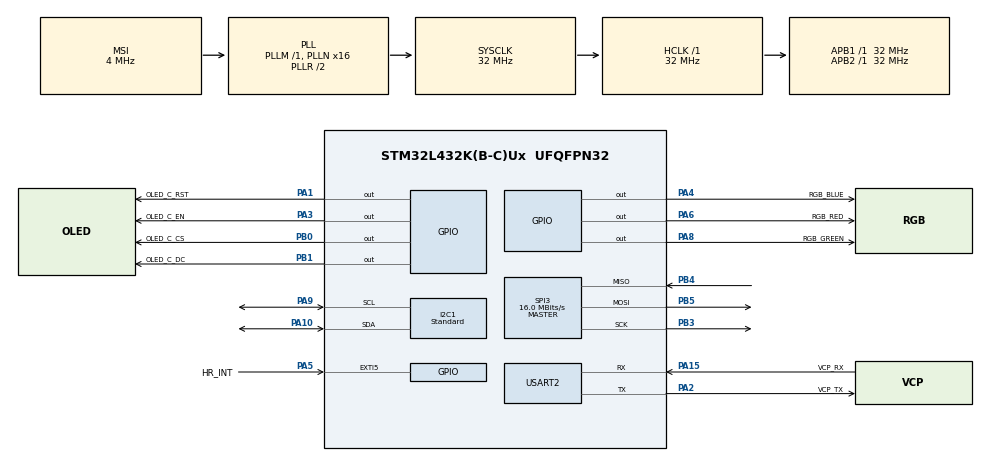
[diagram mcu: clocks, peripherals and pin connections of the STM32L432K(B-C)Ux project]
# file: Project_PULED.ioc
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I2C1.DualAddressMode=I2C_DUALADDRESS_DISABLE
I2C1.I2C_Speed_Mode=I2C_Standard
I2C1.Timing=0x00707CBB
Mcu.Family=STM32L4
Mcu.Name=STM32L432K(B-C)Ux
Mcu.Package=UFQFPN32
NVIC.EXTI9_5_IRQn=true\:0\:0\:false\:false\:true\:true\:true
NVIC.I2C1_EV_IRQn=true\:0\:0\:false\:false\:true\:true\:true
NVIC.PriorityGroup=NVIC_PRIORITYGROUP_4
NVIC.SPI3_IRQn=true\:0\:0\:false\:false\:true\:true\:true
NVIC.TIM1_UP_TIM16_IRQn=true\:0\:0\:false\:false\:true\:true\:true
PA0.GPIO_Label=MCO [High speed clock in]
PA0.Mode=HSE-External-Clock-Source-for-LittleOrca
PA0.Signal=RCC_CK_IN
PA1.GPIO_Label=OLED_C_RST
PA1.Signal=GPIO_Output
PA10.GPIO_Pu=GPIO_PULLUP
PA10.GPIO_Speed=GPIO_SPEED_FREQ_MEDIUM
PA10.Mode=I2C
PA10.Signal=I2C1_SDA
PA13\ (JTMS-SWDIO).GPIO_Label=SWDIO
PA13\ (JTMS-SWDIO).Mode=Serial_Wire
PA13\ (JTMS-SWDIO).Signal=SYS_JTMS-SWDIO
PA14\ (JTCK-SWCLK).GPIO_Label=SWCLK
PA14\ (JTCK-SWCLK).Mode=Serial_Wire
PA14\ (JTCK-SWCLK).Signal=SYS_JTCK-SWCLK
PA15\ (JTDI).GPIO_Label=VCP_RX
PA15\ (JTDI).Mode=Asynchronous
PA15\ (JTDI).Signal=USART2_RX
PA2.GPIO_Label=VCP_TX
PA2.Mode=Asynchronous
PA2.Signal=USART2_TX
PA3.GPIO_Label=OLED_C_EN
PA3.Signal=GPIO_Output
PA4.GPIO_Label=RGB_BLUE
PA4.Signal=GPIO_Output
PA5.GPIO_Label=HR_INT
PA5.GPIO_ModeDefaultEXTI=GPIO_MODE_IT_FALLING
PA5.Signal=GPXTI5
PA6.GPIO_Label=RGB_RED
PA6.Signal=GPIO_Output
PA8.GPIO_Label=RGB_GREEN
PA8.Signal=GPIO_Output
PA9.GPIO_Pu=GPIO_PULLUP
PA9.GPIO_Speed=GPIO_SPEED_FREQ_MEDIUM
PA9.Mode=I2C
PA9.Signal=I2C1_SCL
PB0.GPIO_Label=OLED_C_CS
PB0.Signal=GPIO_Output
PB1.GPIO_Label=OLED_C_DC
PB1.Signal=GPIO_Output
PB3\ (JTDO-TRACESWO).Mode=Full_Duplex_Master
PB3\ (JTDO-TRACESWO).Signal=SPI3_SCK
PB4\ (NJTRST).Mode=Full_Duplex_Master
PB4\ (NJTRST).Signal=SPI3_MISO
PB5.Mode=Full_Duplex_Master
PB5.Signal=SPI3_MOSI
PC14-OSC32_IN\ (PC14).Mode=LSE-External-Oscillator
PC14-OSC32_IN\ (PC14).Signal=RCC_OSC32_IN
PC15-OSC32_OUT\ (PC15).Mode=LSE-External-Oscillator
PC15-OSC32_OUT\ (PC15).Signal=RCC_OSC32_OUT
ProjectManager.HeapSize=0x200
ProjectManager.StackSize=0x400
ProjectManager.TargetToolchain=Makefile
RCC.ADCFreq_Value=32000000
RCC.AHBFreq_Value=32000000
RCC.APB1Freq_Value=32000000
RCC.APB1TimFreq_Value=32000000
RCC.APB2Freq_Value=32000000
RCC.APB2TimFreq_Value=32000000
RCC.CortexFreq_Value=32000000
RCC.HCLKFreq_Value=32000000
RCC.HSE_VALUE=8000000
RCC.HSI16_VALUE=16000000
RCC.HSI48_VALUE=48000000
RCC.HSI_VALUE=16000000
RCC.I2C1CLockSelection=RCC_I2C1CLKSOURCE_SYSCLK
RCC.MSI_VALUE=4000000
RCC.PLLMUL=RCC_PLLMUL_4
RCC.PLLN=16
RCC.PLLSAI1N=16
RCC.SYSCLKFreq_VALUE=32000000
RCC.SYSCLKSource=RCC_SYSCLKSOURCE_PLLCLK
RCC.USBFreq_Value=32000000
RCC.VCOOutputFreq_Value=64000000
SPI3.CalculateBaudRate=16.0 MBits/s
SPI3.DataSize=SPI_DATASIZE_8BIT
SPI3.Direction=SPI_DIRECTION_2LINES
SPI3.Mode=SPI_MODE_MASTER
SPI3.VirtualType=VM_MASTER
TIM16.AutoReloadPreload=TIM_AUTORELOAD_PRELOAD_ENABLE
TIM16.Period=40000-1
TIM16.Prescaler=2-1
USART2.VirtualMode-Asynchronous=VM_ASYNC
VP_TIM16_VS_ClockSourceINT.Mode=Enable_Timer
board=NUCLEO-L432KC

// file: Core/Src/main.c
/* USER CODE BEGIN Header */
/**
  ******************************************************************************
  * @file           : main.c
  * @brief          : Main program body
  ******************************************************************************
  * @attention
  *
  * <h2><center>&copy; Copyright (c) 2021 STMicroelectronics.
  * All rights reserved.</center></h2>
  *
  * This software component is licensed by ST under BSD 3-Clause license,
  * the "License"; You may not use this file except in compliance with the
  * License. You may obtain a copy of the License at:
  *                        opensource.org/licenses/BSD-3-Clause
  *
  ******************************************************************************
  */
/* USER CODE END Header */
#include "main.h"

/* USER CODE BEGIN Includes */

// NOTE Custom Library Imports
#include "protocol.h"
// NOTE Heartrate Module Imports
#include "max30100.h"
// NOTE Display Module Imports
#include "oledc.h"
#include "font.h"

// NOTE Standard Library Imports
#include <string.h>
#include <stdlib.h>
#include <stdbool.h>
#include <stdio.h>
/* USER CODE END Includes */

/* USER CODE BEGIN PD */
#define MSG_BUFFER 255
#define DEBOUNCE 50
#define MINIMUM_VIABLE_MEASUREMENT 10000
/* USER CODE END PD */

/* USER CODE BEGIN PM */

/* NOTE Activate protocol example or UART test sections during initialization */
// #define PROTOCOL_EXAMPLE
// #define UART_TEST

/* NOTE Configure trigger of interrupt from heartrate module
 * These macro's are dependant on the HR_ONLY_MODE and SPO2_MODE flags set in max30100.h !!!
 * TRIGGER_ON_FIFO - Trigger reacts to FIFO full and reads all samples (and prints result in main)
 * TRIGGER_ON_SAMPLE - Trigger reacts on HR_RDY or SPO2_RDY and reads 1 sample (and prints immediatly)
 * TRIGGER_ON_TEMP - Trigger reacts on TEMP_RDY and reads temperature (and prints immediatly)
 */
#define TRIGGER_ON_FIFO
// #define TRIGGER_ON_SAMPLE
/* FIXME Since temperature reading is not working, the following trigger is ineffective / not working */
// #define TRIGGER_ON_TEMP

/* NOTE Activate/Deactivate debugging message */
#define DEBUG

/* NOTE Activate/Deactivate printing interrupt status to UART */
// #define PRINT_INTERRUPT_STATUS

/* NOTE Activate/Deactivate Button interrupt (Only with heartrate module alone) */
// #define BUTTON_INT
/* USER CODE END PM */

I2C_HandleTypeDef hi2c1;

SPI_HandleTypeDef hspi3;

TIM_HandleTypeDef htim16;

UART_HandleTypeDef huart2;

/* USER CODE BEGIN PV */
MAX30100 heartrate_sensor;
uint8_t init_status = 0x00;
uint8_t current_status = 0x00;
uint32_t sum = 0x00000000;
uint16_t avg = 0x0000;
uint32_t total_sum = 0x00000000;
uint16_t total_avg = 0x00000000;
uint8_t sample_counter = 0x00;
bool data_received = false;
bool finger_request = false;
bool measure_msg = false;
#ifndef CALLBACK
#define CALLBACK
typedef void (*CB)(void);
CB callback = NULL;
#endif
/* USER CODE END PV */

void SystemClock_Config(void);
static void MX_GPIO_Init(void);
static void MX_USART2_UART_Init(void);
static void MX_I2C1_Init(void);
static void MX_TIM16_Init(void);
static void MX_SPI3_Init(void);
/* USER CODE BEGIN PFP */
void _tim_timeout_nonblocking_with_callback(unsigned int ms, CB cb);
void uart_transmit(char *message);
void uart_dev_log(char *log);
void check_init_error(INIT_STATUS init_status);
void led_error_blink();
void led_reset();
void read_sample();
/* USER CODE END PFP */

int main(void)
{

    /* MCU Configuration--------------------------------------------------------*/

    /* Reset of all peripherals, Initializes the Flash interface and the Systick. */
    HAL_Init();

    /* USER CODE BEGIN Init */

// NOTE Example Message Initialization
#ifdef PROTOCOL_EXAMPLE
    MSG_t *my_message;
    link_t *current_item;
    uint8_t testArray[] = {
        PRINT_REQ,
        SEP,
        't',
        'e',
        's',
        't',
        '1',
        SEP,
        't',
        'e',
        's',
        't',
        '2',
        0x0};
#endif /*PROTOCOL_EXAMPLE*/

    /* USER CODE END Init */

    /* Configure the system clock */
    SystemClock_Config();

    /* Initialize all configured peripherals */
    MX_GPIO_Init();
    MX_USART2_UART_Init();
    MX_I2C1_Init();
    MX_TIM16_Init();
    MX_SPI3_Init();
    /* USER CODE BEGIN 2 */
    led_reset(); // Turn on off RGB

/* NOTE Testing UART communication */
#ifdef UART_TEST
    char *test_msg = "Hello World! \r\n";
    // Delays start of actual program by 5 seconds
    // Also prints Hello World 5 times & blinks led with each print.
    for (uint8_t i = 0; i < 5; i++)
    {
        HAL_GPIO_TogglePin(RGB_GREEN_GPIO_Port, RGB_GREEN_Pin); /* NOTE Refactored because Board-LED is used */
        HAL_UART_Transmit(&huart2, (uint8_t *)test_msg, sizeof(char) * strlen((char *)test_msg), 50);
        HAL_Delay(1000);
    }
#endif /*UART_TEST*/

// NOTE Print example message via protocol implementation (Protocol which we didn't end up using)
#ifdef PROTOCOL_EXAMPLE
    my_message = deserialize_message(testArray);
    current_item = my_message->content->head;
    while (current_item != NULL)
    {
        HAL_UART_Transmit(&huart2, (uint8_t *)current_item->item, sizeof(char) * strlen((char *)current_item->item), 50);
        HAL_UART_Transmit(&huart2, (uint8_t *)"\r\n", sizeof(char) * strlen("\r\n"), 50);
        // HAL_Delay(1000);
        current_item = current_item->next;
    }

    uint8_t length = get_length_of_message(my_message);
    char str[4];
    sprintf(str, "%i", length);
    HAL_UART_Transmit(&huart2, (uint8_t *)str, sizeof(char) * strlen(str), 50);
    uint8_t *msg = serialize_message(my_message);
    size_t size = strlen((char *)msg) + 1;
    HAL_UART_Transmit(&huart2, msg, size, 50);
    HAL_UART_Transmit(&huart2, (uint8_t *)"\r\n", sizeof(char) * strlen("\r\n"), 50);
    free(msg);
#endif /*PROTOCOL_EXAMPLE*/

    oledc_init();
    oledc_fill_screen(0);                                  // 0 for black screen
    oledc_set_font(&guiFont_Tahoma_14_Regular[0], 0xFFFF); // White text color
    oledc_text_p("Initializing...");

    init_status = MAX30100_initialize(&heartrate_sensor, &hi2c1);
    check_init_error(init_status);
    if (init_status > 0) // Retry initialization if failed (using MAX_RETRY for amount of retries)
    {
        uart_transmit("Retrying...\r\n");
        uint8_t retry_counter = 0;
        char retry_message[24]; // Length of "Retry-Attempt xx...\r\n" +1 (or +3 ???)
        do
        {
            sprintf(retry_message, "Retry-Attempt %1u...\r\n", retry_counter);
            uart_transmit(retry_message);
            init_status = MAX30100_initialize(&heartrate_sensor, &hi2c1);
            retry_counter += (init_status != HAL_OK);
            check_init_error(init_status);
        } while (init_status >= 1 && retry_counter <= MAX_RETRY);
    }
    oledc_text_at_line("...done", 2);
#ifdef TEMP_ONLY_MODE
    uint8_t data = MODE_TEMP_EN;
#endif
    /* USER CODE END 2 */

    /* Infinite loop */
    /* USER CODE BEGIN WHILE */
    while (1)
    {
        if (data_received)
        {
            sum = 0;
            avg = 0;
            for (int i = 0; i < MAX_SAMPLES; i++)
            {
#ifdef DEBUG // Print full sample output on UART in debug mode (for first sample)
                if (i == 0)
                {
                    char heartrate_message[MSG_BUFFER]; // 22 chars + 2 * 16 bit number + ???
                    sprintf(heartrate_message, "HR: %hu - O2: %hu - Temp: %f\r\n",
                            heartrate_sensor.IR_data[i],
                            heartrate_sensor.RED_data[i],
                            heartrate_sensor.temperature);
                    uart_transmit(heartrate_message);
                }
#endif
                sum += heartrate_sensor.IR_data[i]; // Calculate sum of sample-memory-bank
            }
            avg = sum / MAX_SAMPLES; // Calculate average of samples
            if (avg > MINIMUM_VIABLE_MEASUREMENT)
            {
                if (!measure_msg) // Check if "Measuring..." was already written
                {
                    // If not, write it now (IRQ disabled because OLED is sensible)
                    __NVIC_DisableIRQ(EXTI9_5_IRQn);
                    finger_request = false;
                    oledc_fill_screen(0);
                    oledc_set_font(&guiFont_Tahoma_10_Regular[0], 0x07E0); // Color is pure green
                    oledc_text_p("Measuring...");
                    measure_msg = true;
                    __NVIC_EnableIRQ(EXTI9_5_IRQn);
                }
                total_sum += sum;
                sample_counter += MAX_SAMPLES;
                /* NOTE We could have gone the alternate way of updating the AVG continously, but meh */
                if ((sample_counter / MAX_SAMPLES) >= MAX_SAMPLES - 1) // Check if we reached maximum number of samples for good AVG
                {
                    // If yes, write result now (IRQ disabled because OLED is sensible)
                    __NVIC_DisableIRQ(EXTI9_5_IRQn);
                    measure_msg = false;
                    finger_request = false;
                    oledc_fill_screen(0);
                    oledc_set_font(&guiFont_Tahoma_14_Regular[0], 0xFFFF);
                    total_avg = total_sum / sample_counter;
                    char avg_value_text[sizeof(total_avg)];
                    sprintf(avg_value_text, "%hu", total_avg);
                    oledc_text_two_lines("HR AVG:", avg_value_text);
                    total_sum = 0;
                    sample_counter = 0;
                    HAL_Delay(3000);
                    __NVIC_EnableIRQ(EXTI9_5_IRQn);
                }
            }
            else
            {
                if (!finger_request) // Check if "Place finger" request was already written
                {
                    // If not, write it now (IRQ disabled because OLED is sensible)
                    measure_msg = false;
                    __NVIC_DisableIRQ(EXTI9_5_IRQn);
                    oledc_fill_screen(0);                                  // Fill screen black
                    oledc_set_font(&guiFont_Tahoma_10_Regular[0], 0xF800); // Color is pure red
                    oledc_text_two_lines("Place", "finger on sensor..");
                    finger_request = true;
                    __NVIC_EnableIRQ(EXTI9_5_IRQn);
                }
            }
            data_received = false;
        }
#ifdef TEMP_ONLY_MODE
        MAX30100_write_register(&heartrate_sensor, MODE_CONFIG, &data);
        HAL_Delay(1000);
#endif
        /* USER CODE END WHILE */

    }
}

void SystemClock_Config(void)
{
    RCC_OscInitTypeDef RCC_OscInitStruct = {0};
    RCC_ClkInitTypeDef RCC_ClkInitStruct = {0};

    /** Configure the main internal regulator output voltage
  */
    if (HAL_PWREx_ControlVoltageScaling(PWR_REGULATOR_VOLTAGE_SCALE1) != HAL_OK)
    {
        Error_Handler();
    }
    /** Configure LSE Drive Capability
  */
    HAL_PWR_EnableBkUpAccess();
    __HAL_RCC_LSEDRIVE_CONFIG(RCC_LSEDRIVE_LOW);
    /** Initializes the RCC Oscillators according to the specified parameters
  * in the RCC_OscInitTypeDef structure.
  */
    RCC_OscInitStruct.OscillatorType = RCC_OSCILLATORTYPE_LSE | RCC_OSCILLATORTYPE_MSI;
    RCC_OscInitStruct.LSEState = RCC_LSE_ON;
    RCC_OscInitStruct.MSIState = RCC_MSI_ON;
    RCC_OscInitStruct.MSICalibrationValue = 0;
    RCC_OscInitStruct.MSIClockRange = RCC_MSIRANGE_6;
    RCC_OscInitStruct.PLL.PLLState = RCC_PLL_ON;
    RCC_OscInitStruct.PLL.PLLSource = RCC_PLLSOURCE_MSI;
    RCC_OscInitStruct.PLL.PLLM = 1;
    RCC_OscInitStruct.PLL.PLLN = 16;
    RCC_OscInitStruct.PLL.PLLP = RCC_PLLP_DIV7;
    RCC_OscInitStruct.PLL.PLLQ = RCC_PLLQ_DIV2;
    RCC_OscInitStruct.PLL.PLLR = RCC_PLLR_DIV2;
    if (HAL_RCC_OscConfig(&RCC_OscInitStruct) != HAL_OK)
    {
        Error_Handler();
    }
    /** Initializes the CPU, AHB and APB buses clocks
  */
    RCC_ClkInitStruct.ClockType = RCC_CLOCKTYPE_HCLK | RCC_CLOCKTYPE_SYSCLK | RCC_CLOCKTYPE_PCLK1 | RCC_CLOCKTYPE_PCLK2;
    RCC_ClkInitStruct.SYSCLKSource = RCC_SYSCLKSOURCE_PLLCLK;
    RCC_ClkInitStruct.AHBCLKDivider = RCC_SYSCLK_DIV1;
    RCC_ClkInitStruct.APB1CLKDivider = RCC_HCLK_DIV1;
    RCC_ClkInitStruct.APB2CLKDivider = RCC_HCLK_DIV1;

    if (HAL_RCC_ClockConfig(&RCC_ClkInitStruct, FLASH_LATENCY_1) != HAL_OK)
    {
        Error_Handler();
    }
    /** Enable MSI Auto calibration
  */
    HAL_RCCEx_EnableMSIPLLMode();
}

static void MX_I2C1_Init(void)
{

    hi2c1.Instance = I2C1;
    hi2c1.Init.Timing = 0x00707CBB;
    hi2c1.Init.OwnAddress1 = 0;
    hi2c1.Init.AddressingMode = I2C_ADDRESSINGMODE_7BIT;
    hi2c1.Init.DualAddressMode = I2C_DUALADDRESS_DISABLE;
    hi2c1.Init.OwnAddress2 = 0;
    hi2c1.Init.OwnAddress2Masks = I2C_OA2_NOMASK;
    hi2c1.Init.GeneralCallMode = I2C_GENERALCALL_DISABLE;
    hi2c1.Init.NoStretchMode = I2C_NOSTRETCH_DISABLE;
    if (HAL_I2C_Init(&hi2c1) != HAL_OK)
    {
        Error_Handler();
    }
    /** Configure Analogue filter
  */
    if (HAL_I2CEx_ConfigAnalogFilter(&hi2c1, I2C_ANALOGFILTER_ENABLE) != HAL_OK)
    {
        Error_Handler();
    }
    /** Configure Digital filter
  */
    if (HAL_I2CEx_ConfigDigitalFilter(&hi2c1, 0) != HAL_OK)
    {
        Error_Handler();
    }
}

static void MX_SPI3_Init(void)
{

    /* SPI3 parameter configuration*/
    hspi3.Instance = SPI3;
    hspi3.Init.Mode = SPI_MODE_MASTER;
    hspi3.Init.Direction = SPI_DIRECTION_2LINES;
    hspi3.Init.DataSize = SPI_DATASIZE_8BIT;
    hspi3.Init.CLKPolarity = SPI_POLARITY_LOW;
    hspi3.Init.CLKPhase = SPI_PHASE_1EDGE;
    hspi3.Init.NSS = SPI_NSS_SOFT;
    hspi3.Init.BaudRatePrescaler = SPI_BAUDRATEPRESCALER_2;
    hspi3.Init.FirstBit = SPI_FIRSTBIT_MSB;
    hspi3.Init.TIMode = SPI_TIMODE_DISABLE;
    hspi3.Init.CRCCalculation = SPI_CRCCALCULATION_DISABLE;
    hspi3.Init.CRCPolynomial = 7;
    hspi3.Init.CRCLength = SPI_CRC_LENGTH_DATASIZE;
    hspi3.Init.NSSPMode = SPI_NSS_PULSE_ENABLE;
    if (HAL_SPI_Init(&hspi3) != HAL_OK)
    {
        Error_Handler();
    }
}

static void MX_TIM16_Init(void)
{

    htim16.Instance = TIM16;
    htim16.Init.Prescaler = 2 - 1;
    htim16.Init.CounterMode = TIM_COUNTERMODE_UP;
    htim16.Init.Period = 40000 - 1;
    htim16.Init.ClockDivision = TIM_CLOCKDIVISION_DIV1;
    htim16.Init.RepetitionCounter = 0;
    htim16.Init.AutoReloadPreload = TIM_AUTORELOAD_PRELOAD_ENABLE;
    if (HAL_TIM_Base_Init(&htim16) != HAL_OK)
    {
        Error_Handler();
    }
}

static void MX_USART2_UART_Init(void)
{

    huart2.Instance = USART2;
    huart2.Init.BaudRate = 115200;
    huart2.Init.WordLength = UART_WORDLENGTH_8B;
    huart2.Init.StopBits = UART_STOPBITS_1;
    huart2.Init.Parity = UART_PARITY_NONE;
    huart2.Init.Mode = UART_MODE_TX_RX;
    huart2.Init.HwFlowCtl = UART_HWCONTROL_NONE;
    huart2.Init.OverSampling = UART_OVERSAMPLING_16;
    huart2.Init.OneBitSampling = UART_ONE_BIT_SAMPLE_DISABLE;
    huart2.AdvancedInit.AdvFeatureInit = UART_ADVFEATURE_NO_INIT;
    if (HAL_UART_Init(&huart2) != HAL_OK)
    {
        Error_Handler();
    }
}

static void MX_GPIO_Init(void)
{
    GPIO_InitTypeDef GPIO_InitStruct = {0};

    /* GPIO Ports Clock Enable */
    __HAL_RCC_GPIOC_CLK_ENABLE();
    __HAL_RCC_GPIOA_CLK_ENABLE();
    __HAL_RCC_GPIOB_CLK_ENABLE();

    /*Configure GPIO pin Output Level */
    HAL_GPIO_WritePin(GPIOA, OLED_C_RST_Pin | OLED_C_EN_Pin | RGB_BLUE_Pin | RGB_RED_Pin | RGB_GREEN_Pin, GPIO_PIN_RESET);

    /*Configure GPIO pin Output Level */
    HAL_GPIO_WritePin(GPIOB, OLED_C_CS_Pin | OLED_C_DC_Pin, GPIO_PIN_RESET);

    /*Configure GPIO pins : OLED_C_RST_Pin OLED_C_EN_Pin RGB_BLUE_Pin RGB_RED_Pin
                           RGB_GREEN_Pin */
    GPIO_InitStruct.Pin = OLED_C_RST_Pin | OLED_C_EN_Pin | RGB_BLUE_Pin | RGB_RED_Pin | RGB_GREEN_Pin;
    GPIO_InitStruct.Mode = GPIO_MODE_OUTPUT_PP;
    GPIO_InitStruct.Pull = GPIO_NOPULL;
    GPIO_InitStruct.Speed = GPIO_SPEED_FREQ_LOW;
    HAL_GPIO_Init(GPIOA, &GPIO_InitStruct);

    /*Configure GPIO pin : HR_INT_Pin */
    GPIO_InitStruct.Pin = HR_INT_Pin;
    GPIO_InitStruct.Mode = GPIO_MODE_IT_FALLING;
    GPIO_InitStruct.Pull = GPIO_NOPULL;
    HAL_GPIO_Init(HR_INT_GPIO_Port, &GPIO_InitStruct);

    /*Configure GPIO pins : OLED_C_CS_Pin OLED_C_DC_Pin */
    GPIO_InitStruct.Pin = OLED_C_CS_Pin | OLED_C_DC_Pin;
    GPIO_InitStruct.Mode = GPIO_MODE_OUTPUT_PP;
    GPIO_InitStruct.Pull = GPIO_NOPULL;
    GPIO_InitStruct.Speed = GPIO_SPEED_FREQ_LOW;
    HAL_GPIO_Init(GPIOB, &GPIO_InitStruct);

    /* EXTI interrupt init*/
    HAL_NVIC_SetPriority(EXTI9_5_IRQn, 0, 0);
    HAL_NVIC_EnableIRQ(EXTI9_5_IRQn);
}

/* USER CODE BEGIN 4 */
/* NOTE Code for Display */
void hal_gpio_csSet(bool pinState)
{
    HAL_GPIO_WritePin(OLED_C_CS_GPIO_Port, OLED_C_CS_Pin, pinState);
}
void hal_gpio_pwmSet(bool pinState)
{
    HAL_GPIO_WritePin(OLED_C_DC_GPIO_Port, OLED_C_DC_Pin, pinState);
}
void hal_gpio_intSet(bool pinState)
{
    HAL_GPIO_WritePin(OLED_C_EN_GPIO_Port, OLED_C_EN_Pin, pinState);
}
void hal_gpio_rstSet(bool pinState)
{
    HAL_GPIO_WritePin(OLED_C_RST_GPIO_Port, OLED_C_RST_Pin, pinState);
}

void delay(int delay)
{
    HAL_Delay(delay);
}

unsigned int spi_read(unsigned int buffer)
{
    uint8_t data;

    HAL_SPI_Receive(&hspi3, &data, 1, 50);

    return data;
}

void hal_spiWrite(uint8_t *pBuf, uint16_t nBytes)
{
    HAL_SPI_Transmit(&hspi3, pBuf, nBytes, 50);
}

/* NOTE END of Display code */

/* NOTE START of Heartrate code */

#ifdef DEBUG
/* NOTE All UART & I2C Callback functions */
void HAL_I2C_MasterTxCpltCallback(I2C_HandleTypeDef *hi2c)
{
    __NOP(); // To be able to debug here with breakpoints
}
void HAL_I2C_MasterRxCpltCallback(I2C_HandleTypeDef *hi2c)
{
    __NOP(); // To be able to debug here with breakpoints
}
void HAL_UART_RxCpltCallback(UART_HandleTypeDef *huart)
{
    __NOP(); // To be able to debug here with breakpoints
}
void HAL_UART_TxCpltCallback(UART_HandleTypeDef *huart)
{
    __NOP(); // To be able to debug here with breakpoints
}
#endif

void HAL_GPIO_EXTI_Callback(uint16_t GPIO_Pin)
{
#ifdef BUTTON_INT // DO NOT USE THIS WITH 2 MODULES! BUTTON_INT_Pin is not available. (PA3 is needed for OLED_C_EN)
    /* NOTE Due to GPIO constraints using 2 modules, this was redacted from the code
     * It remains as a debug method, because sometimes it's nice to have a simple method of initiating just one reading
     *
     */
    /* NOTE On button press, the samples & temperature are read once and printed in main-loop */
    if (GPIO_Pin == BUTTON_INT_Pin)
    {
        uint8_t counter = 0;
        while (HAL_GPIO_ReadPin(BUTTON_INT_GPIO_Port, BUTTON_INT_Pin) == GPIO_PIN_RESET)
        {
            counter++;
            if (counter > DEBOUNCE)
            {
                break;
            }
        }
        MAX30100_read_samples(&heartrate_sensor);
        MAX30100_read_temperature(&heartrate_sensor);
        data_received = true;
    }
#endif

    /* NOTE Button press refactored for Display GPIO Output */
    if (GPIO_Pin == HR_INT_Pin)
    {
        uint8_t interrupt_status = MAX30100_read_interrupts(&heartrate_sensor);
#ifdef PRINT_INTERRUPT_STATUS
        // Print Interrupt status to UART in debug mode (will be printed alot!)
        char interrupt_message[23]; // 15 chars + 1 * 8 bit number = 23
        sprintf(interrupt_message, "Interrupt: 0x%x\r\n", interrupt_status);
        uart_transmit(interrupt_message);
#endif
#ifdef TRIGGER_ON_FIFO
        if (interrupt_status & FIFO_FULL)
        {
            MAX30100_read_samples(&heartrate_sensor); // FIXME Ignoring HAL_Status currently
            data_received = true;
        }
#endif
#ifdef TRIGGER_ON_SAMPLE
        if ((interrupt_status & HEARTRATE_READY) || (interrupt_status & SPO2_READY))
        {
            // HAL_Status is ignored because we're reading only 1 sample and it will happen 100 times per second
            MAX30100_read_sample(&heartrate_sensor);
            char sample_message[43]; // 11 chars + 2 * 16 bit number = 43
            sprintf(sample_message, "HR: %hu O2: %hu\r\n",
                    heartrate_sensor.hr_sample,
                    heartrate_sensor.spo2_sample);
            uart_transmit(sample_message);
        }
#endif
#ifdef TRIGGER_ON_TEMP
        if (interrupt_status & TEMP_READY)
        {
            MAX30100_read_temperature(&heartrate_sensor); // FIXME Ignoring HAL_Status currently
            char temperature_message[MSG_BUFFER];
            sprintf(temperature_message, "Temp: %f\r\n", heartrate_sensor.temperature);
            uart_transmit(temperature_message);
        }
#endif
    }
}

/* NOTE END of Heartrate code */

/* NOTE START of Helper code */

// Timer Callback function - used for executing non-blocking callbacks
/* NOTE Timer configuration
 * Timer is configured with a Prescaler of 1 and Counter of 39999
 * With a clock at 80MHz, this results in a 1000Hz output, which is 1ms
 */
void HAL_TIM_PeriodElapsedCallback(TIM_HandleTypeDef *htim)
{
#ifdef DEBUG
    __NOP(); // To set a breakpoint here
#endif
    if (htim == &htim16)
    {
        // Stop the timer
        HAL_TIM_Base_Stop_IT(&htim16);
        // Execute global callback function (set by caller)
        (*callback)();
    }
}

void _tim_timeout_nonblocking_with_callback(unsigned int ms, CB cb)
{
    callback = cb; // Set global function pointer variable to callback
    // Activate flag for doing action in main loop
    // Not used here
    // callback_flag = 1;

    // Set autoreload to specified milliseconds
    // This assumes that the configuration is set to have 1ms per tick
    __HAL_TIM_SET_AUTORELOAD(&htim16, ms);
    // Set counter to 0 for sanity (redundant - just making sure)
    __HAL_TIM_SET_COUNTER(&htim16, 0);
    // Event generation register => Update generation (Reinitialize counter & update registers)
    TIM16->EGR = 1;
    // Status register => Reset Update Interrupt Flag (Because it was set by EGR - line above)
    // Barebone: TIM16->SR &= 0
    __HAL_TIM_CLEAR_FLAG(&htim16, TIM_FLAG_UPDATE);
    HAL_TIM_Base_Start_IT(&htim16);
}

void uart_transmit(char *message)
{
    if (message == NULL)
    {
        return;
    }
    HAL_StatusTypeDef ret;
    uint16_t len = (sizeof(char) * strlen(message)) + 1;
    ret = HAL_UART_Transmit(&huart2, (uint8_t *)message, len, UART_TIMEOUT);
    if (ret != HAL_OK)
    {
        led_error_blink();
    }
}

void uart_dev_log(char *log)
{
    if (log == NULL)
    {
        return;
    }
    HAL_StatusTypeDef ret;
    uint16_t len = (sizeof(char) * strlen(log)) + 1;

    ret = HAL_UART_Transmit_IT(&huart2, (uint8_t *)log, len);
    if (ret != HAL_OK)
    {
        led_error_blink();
    }
}

// Checks the initialization error code and prints appropriate message on UART
void check_init_error(INIT_STATUS init_status)
{
    switch (init_status) // Check & Handle init_status of initialization
    {
    case REVISION_FAILED:
        uart_transmit("Communication error: Receiving revision number failed...\r\n");
        break;
    case REVISION_FALSE:
        uart_transmit("Incompatible sensor: Sensor has wrong revision number...\r\n");
        break;
    case PART_ID_FAILED:
        uart_transmit("Communication error: Receiving sensor Part-ID failed...\r\n");
        break;
    case PART_ID_FALSE:
        uart_transmit("Incompatible sensor: Sensor has wrong Part-ID...\r\n");
        break;
    case RESET_FAILED:
        uart_transmit("Communication error: Resetting sensor failed...\r\n");
        break;
    case CONFIG_FAILED:
        uart_transmit("Communication error: Configuring sensor mode failed...\r\n");
        break;
    case SPO2_CONFIG_FAILED:
        uart_transmit("Communication error: Sensor SPO2 configuration failed...\r\n");
        break;
    case INITIAL_TEMP_FAILED:
        uart_transmit("Communication error: Receiving initial temperature reading failed...\r\n");
        break;
    case LED_CONFIG_FAILED:
        uart_transmit("Communication error: Configuring sensor LEDs failed...\r\n");
        break;
    case INTERRUPT_CONFIG_FAILED:
        uart_transmit("Communication error: Configuring sensor interrupts failed...\r\n");
        break;
    default:
        uart_transmit("MAX30100 sensor completed initialization.\r\n");
        break;
    }
}

// Error blinking is yellow - something went wrong on UART
void led_error_blink()
{
    HAL_GPIO_WritePin(GPIOA, RGB_RED_Pin | RGB_GREEN_Pin, GPIO_PIN_RESET); // RED + GREEN = YELLOW
    _tim_timeout_nonblocking_with_callback(1000, led_reset);
}

// Reset all RGB colors on RGB LED
void led_reset()
{
    HAL_GPIO_WritePin(GPIOA, RGB_BLUE_Pin | RGB_RED_Pin | RGB_GREEN_Pin, GPIO_PIN_SET);
}

/* NOTE END of Helper Code */

/* USER CODE END 4 */

void Error_Handler(void)
{
    /* USER CODE BEGIN Error_Handler_Debug */
    /* User can add his own implementation to report the HAL error return state */
    __disable_irq();
    while (1)
    {
        led_reset();
        HAL_GPIO_WritePin(GPIOA, RGB_RED_Pin, GPIO_PIN_RESET); // System is in fault state
    }
    /* USER CODE END Error_Handler_Debug */
}

/************************ (C) COPYRIGHT STMicroelectronics *****END OF FILE****/
